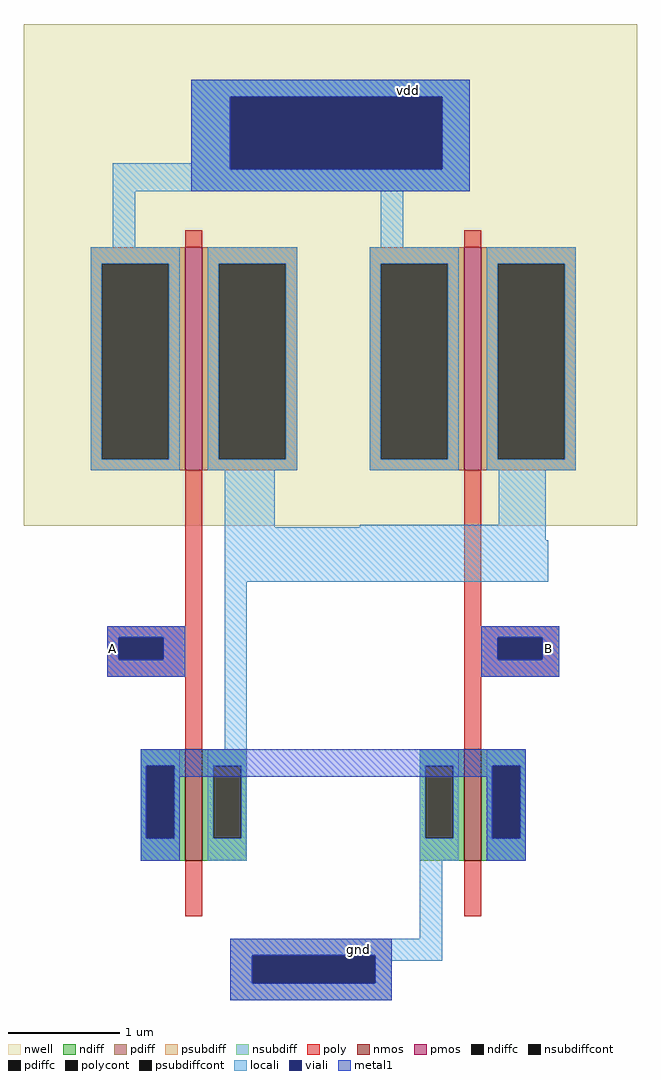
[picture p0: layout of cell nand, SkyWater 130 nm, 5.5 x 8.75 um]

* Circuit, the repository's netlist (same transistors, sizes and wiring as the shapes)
* SPICE3 file created from nor.ext - technology: sky130A


X0 a_60_n450# A vdd vdd sky130_fd_pr__pfet_01v8 ad=1.7 pd=5.7 as=1.7 ps=5.7 w=2 l=0.15
X1 a_60_n450# A a_5_n450# gnd sky130_fd_pr__nfet_01v8 ad=0.4 pd=2.8 as=0.4 ps=2.8 w=1 l=0.15
X2 a_5_n450# B gnd gnd sky130_fd_pr__nfet_01v8 ad=0.4 pd=2.8 as=0.4 ps=2.8 w=1 l=0.15
X3 a_60_n450# B vdd vdd sky130_fd_pr__pfet_01v8 ad=1.7 pd=5.7 as=1.7 ps=5.7 w=2 l=0.15

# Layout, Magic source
magic
tech sky130A
<< nwell >>
rect -100 -150 450 300
<< nmos >>
rect 45 -450 60 -350
rect 295 -450 310 -350
<< pmos >>
rect 45 -100 60 100
rect 295 -100 310 100
<< ndiff >>
rect 5 -365 45 -350
rect 5 -430 10 -365
rect 35 -430 45 -365
rect 5 -450 45 -430
rect 60 -365 100 -350
rect 60 -430 70 -365
rect 95 -430 100 -365
rect 60 -450 100 -430
rect 255 -365 295 -350
rect 255 -430 260 -365
rect 285 -430 295 -365
rect 255 -450 295 -430
rect 310 -365 350 -350
rect 310 -430 320 -365
rect 345 -430 350 -365
rect 310 -450 350 -430
<< pdiff >>
rect -40 85 45 100
rect -40 -90 -30 85
rect 30 -90 45 85
rect -40 -100 45 -90
rect 60 85 145 100
rect 60 -90 75 85
rect 135 -90 145 85
rect 60 -100 145 -90
rect 210 85 295 100
rect 210 -90 220 85
rect 280 -90 295 85
rect 210 -100 295 -90
rect 310 85 395 100
rect 310 -90 325 85
rect 385 -90 395 85
rect 310 -100 395 -90
<< ndiffc >>
rect 10 -430 35 -365
rect 70 -430 95 -365
rect 260 -430 285 -365
rect 320 -430 345 -365
<< pdiffc >>
rect -30 -90 30 85
rect 75 -90 135 85
rect 220 -90 280 85
rect 325 -90 385 85
<< psubdiff >>
rect 85 -535 230 -520
rect 85 -560 105 -535
rect 215 -560 230 -535
rect 85 -575 230 -560
<< nsubdiff >>
rect 50 235 300 250
rect 50 170 85 235
rect 275 170 300 235
rect 50 150 300 170
<< psubdiffcont >>
rect 105 -560 215 -535
<< nsubdiffcont >>
rect 85 170 275 235
<< poly >>
rect 45 100 60 115
rect 295 100 310 115
rect 45 -240 60 -100
rect -25 -250 60 -240
rect -25 -270 -15 -250
rect 25 -270 60 -250
rect -25 -285 60 -270
rect 45 -350 60 -285
rect 295 -240 310 -100
rect 295 -250 380 -240
rect 295 -270 325 -250
rect 365 -270 380 -250
rect 295 -285 380 -270
rect 295 -350 310 -285
rect 45 -500 60 -450
rect 295 -500 310 -450
<< polycont >>
rect -15 -270 25 -250
rect 325 -270 365 -250
<< locali >>
rect 50 235 300 250
rect 50 175 85 235
rect -20 170 85 175
rect 275 170 300 235
rect -20 150 300 170
rect -20 100 0 150
rect 220 100 240 150
rect -40 85 40 100
rect -40 -90 -30 85
rect 30 -90 40 85
rect -40 -100 40 -90
rect 65 85 145 100
rect 65 -90 75 85
rect 135 -90 145 85
rect 65 -100 145 -90
rect 210 85 290 100
rect 210 -90 220 85
rect 280 -90 290 85
rect 210 -100 290 -90
rect 315 85 395 100
rect 315 -90 325 85
rect 385 -90 395 85
rect 315 -100 395 -90
rect 80 -151 125 -100
rect 326 -149 368 -100
rect 201 -151 368 -149
rect 80 -163 368 -151
rect 80 -200 370 -163
rect -25 -250 45 -240
rect -25 -270 -15 -250
rect 25 -270 45 -250
rect -25 -285 45 -270
rect 80 -350 100 -200
rect 310 -250 380 -240
rect 310 -270 325 -250
rect 365 -270 380 -250
rect 310 -285 380 -270
rect 5 -365 40 -350
rect 5 -430 10 -365
rect 35 -430 40 -365
rect 5 -450 40 -430
rect 65 -365 100 -350
rect 65 -430 70 -365
rect 95 -430 100 -365
rect 65 -450 100 -430
rect 255 -365 290 -350
rect 255 -430 260 -365
rect 285 -430 290 -365
rect 255 -450 290 -430
rect 315 -365 350 -350
rect 315 -430 320 -365
rect 345 -430 350 -365
rect 315 -450 350 -430
rect 255 -520 275 -450
rect 85 -535 275 -520
rect 85 -560 105 -535
rect 215 -540 275 -535
rect 215 -560 230 -540
rect 85 -575 230 -560
<< viali >>
rect 85 170 275 235
rect -15 -270 25 -250
rect 325 -270 365 -250
rect 10 -430 35 -365
rect 320 -430 345 -365
rect 105 -560 215 -535
<< metal1 >>
rect 50 235 300 250
rect 50 170 85 235
rect 275 170 300 235
rect 50 150 300 170
rect -25 -250 45 -240
rect -25 -270 -15 -250
rect 25 -270 45 -250
rect -25 -285 45 -270
rect 310 -250 380 -240
rect 310 -270 325 -250
rect 365 -270 380 -250
rect 310 -285 380 -270
rect 5 -365 350 -350
rect 5 -430 10 -365
rect 35 -375 320 -365
rect 35 -430 40 -375
rect 5 -450 40 -430
rect 315 -430 320 -375
rect 345 -430 350 -365
rect 315 -450 350 -430
rect 85 -535 230 -520
rect 85 -560 105 -535
rect 215 -560 230 -535
rect 85 -575 230 -560
<< labels >>
rlabel metal1 -20 -260 -20 -260 1 A
port 1 n
rlabel metal1 370 -260 370 -260 1 B
port 2 n
rlabel metal1 200 -530 200 -530 1 gnd
port 3 n
rlabel metal1 245 240 245 240 1 vdd
port 4 n
<< end >>
